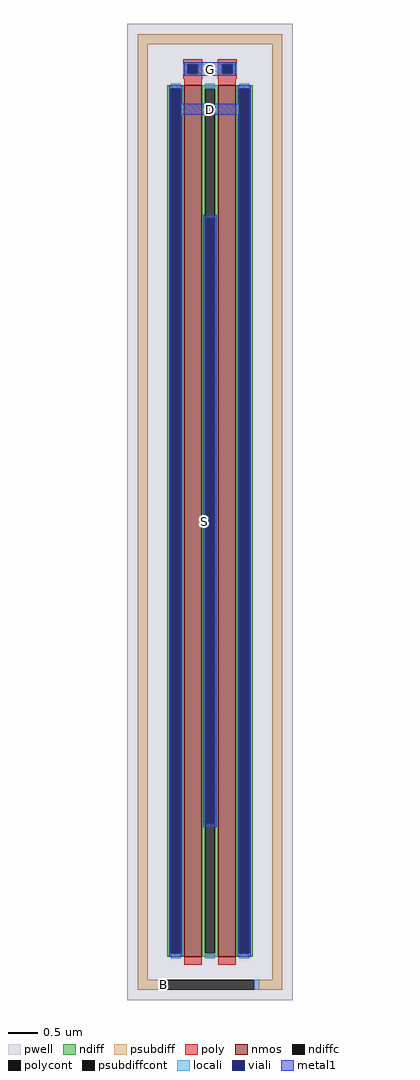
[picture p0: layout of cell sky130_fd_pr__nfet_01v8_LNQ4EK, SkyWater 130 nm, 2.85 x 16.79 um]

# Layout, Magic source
magic
tech sky130A
magscale 1 2
<< pwell >>
rect -285 -1679 285 1679
<< nmos >>
rect -89 -1531 -29 1469
rect 29 -1531 89 1469
<< ndiff >>
rect -147 1457 -89 1469
rect -147 -1519 -135 1457
rect -101 -1519 -89 1457
rect -147 -1531 -89 -1519
rect -29 1457 29 1469
rect -29 -1519 -17 1457
rect 17 -1519 29 1457
rect -29 -1531 29 -1519
rect 89 1457 147 1469
rect 89 -1519 101 1457
rect 135 -1519 147 1457
rect 89 -1531 147 -1519
<< ndiffc >>
rect -135 -1519 -101 1457
rect -17 -1519 17 1457
rect 101 -1519 135 1457
<< psubdiff >>
rect -249 1609 249 1643
rect -249 -1609 -215 1609
rect 215 -1609 249 1609
rect -249 -1643 -153 -1609
rect 153 -1643 249 -1609
<< psubdiffcont >>
rect -153 -1643 153 -1609
<< poly >>
rect -92 1541 -26 1557
rect -92 1507 -76 1541
rect -42 1507 -26 1541
rect -92 1491 -26 1507
rect 26 1541 92 1557
rect 26 1507 42 1541
rect 76 1507 92 1541
rect 26 1491 92 1507
rect -89 1469 -29 1491
rect 29 1469 89 1491
rect -89 -1557 -29 -1531
rect 29 -1557 89 -1531
<< polycont >>
rect -76 1507 -42 1541
rect 42 1507 76 1541
<< locali >>
rect -92 1507 -76 1541
rect -42 1507 -26 1541
rect 26 1507 42 1541
rect 76 1507 92 1541
rect -135 1457 -101 1473
rect -135 -1535 -101 -1519
rect -17 1457 17 1473
rect -17 -1535 17 -1519
rect 101 1457 135 1473
rect 101 -1535 135 -1519
rect -169 -1643 -153 -1609
rect 153 -1643 169 -1609
<< viali >>
rect -76 1507 -42 1541
rect 42 1507 76 1541
rect -135 -1519 -101 1457
rect -17 -1073 17 1011
rect 101 -1519 135 1457
<< metal1 >>
rect -88 1541 88 1547
rect -88 1507 -76 1541
rect -42 1507 42 1541
rect 76 1507 88 1541
rect -88 1501 88 1507
rect -141 1457 -95 1469
rect -141 -1519 -135 1457
rect -101 1405 -95 1457
rect 95 1457 141 1469
rect 95 1405 101 1457
rect -101 1366 101 1405
rect -101 -1519 -95 1366
rect -23 1011 23 1023
rect -23 -1073 -17 1011
rect 17 -1073 23 1011
rect -23 -1085 23 -1073
rect -141 -1531 -95 -1519
rect 95 -1519 101 1366
rect 135 -1519 141 1457
rect 95 -1531 141 -1519
<< labels >>
rlabel metal1 -101 1366 101 1405 1 D
port 1 n
rlabel metal1 -23 -1085 -17 1023 1 S
port 2 n
rlabel metal1 -42 1501 42 1547 1 G
port 3 n
rlabel locali -169 -1643 -153 -1609 1 B
port 4 n
<< properties >>
string FIXED_BBOX -232 -1626 232 1626
string gencell sky130_fd_pr__nfet_01v8
string library sky130
string parameters w 15 l 0.3 m 1 nf 2 diffcov 100 polycov 100 guard 1 glc 0 grc 0 gtc 0 gbc 1 tbcov 100 rlcov 100 topc 1 botc 0 poverlap 0 doverlap 1 lmin 0.15 wmin 0.42 compatible {sky130_fd_pr__nfet_01v8 sky130_fd_pr__nfet_01v8_lvt  sky130_fd_bs_flash__special_sonosfet_star  sky130_fd_pr__nfet_g5v0d10v5 sky130_fd_pr__nfet_05v0_nvt  sky130_fd_pr__nfet_03v3_nvt} full_metal 0 viasrc 70 viadrn 100 viagate 100 viagb 0 viagr 0 viagl 0 viagt 0
<< end >>
